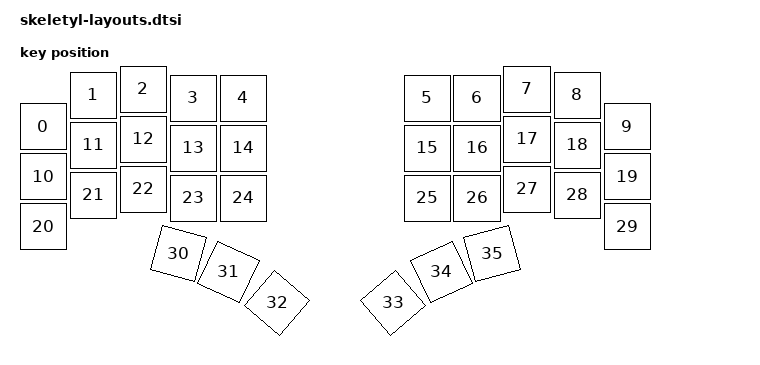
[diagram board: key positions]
#include <physical_layouts.dtsi>

/ {
    skeletyl_3x5_layout: skeletyl_3x5_layout {
        compatible = "zmk,physical-layout";
        display-name = "3x5 Layout";
        transform = <&skeletyl_3x5_transform>;
        kscan = <&kscan0>;

        keys  //                     w   h    x    y     rot    rx    ry
            = <&key_physical_attrs 100 100    0   75       0     0     0>
            , <&key_physical_attrs 100 100  100   12       0     0     0>
            , <&key_physical_attrs 100 100  200    0       0     0     0>
            , <&key_physical_attrs 100 100  300   18       0     0     0>
            , <&key_physical_attrs 100 100  400   18       0     0     0>
            , <&key_physical_attrs 100 100  768   18       0     0     0>
            , <&key_physical_attrs 100 100  868   18       0     0     0>
            , <&key_physical_attrs 100 100  968    0       0     0     0>
            , <&key_physical_attrs 100 100 1068   12       0     0     0>
            , <&key_physical_attrs 100 100 1168   75       0     0     0>
            , <&key_physical_attrs 100 100    0  175       0     0     0>
            , <&key_physical_attrs 100 100  100  112       0     0     0>
            , <&key_physical_attrs 100 100  200  100       0     0     0>
            , <&key_physical_attrs 100 100  300  118       0     0     0>
            , <&key_physical_attrs 100 100  400  118       0     0     0>
            , <&key_physical_attrs 100 100  768  118       0     0     0>
            , <&key_physical_attrs 100 100  868  118       0     0     0>
            , <&key_physical_attrs 100 100  968  100       0     0     0>
            , <&key_physical_attrs 100 100 1068  112       0     0     0>
            , <&key_physical_attrs 100 100 1168  175       0     0     0>
            , <&key_physical_attrs 100 100    0  275       0     0     0>
            , <&key_physical_attrs 100 100  100  212       0     0     0>
            , <&key_physical_attrs 100 100  200  200       0     0     0>
            , <&key_physical_attrs 100 100  300  218       0     0     0>
            , <&key_physical_attrs 100 100  400  218       0     0     0>
            , <&key_physical_attrs 100 100  768  218       0     0     0>
            , <&key_physical_attrs 100 100  868  218       0     0     0>
            , <&key_physical_attrs 100 100  968  200       0     0     0>
            , <&key_physical_attrs 100 100 1068  212       0     0     0>
            , <&key_physical_attrs 100 100 1168  275       0     0     0>
            , <&key_physical_attrs 100 100  271  329    1500   321   379>
            , <&key_physical_attrs 100 100  371  366    2500   421   416>
            , <&key_physical_attrs 100 100  468  428    4100   518   478>
            , <&key_physical_attrs 100 100  700  428 (-4100)   750   478>
            , <&key_physical_attrs 100 100  797  366 (-2500)   847   416>
            , <&key_physical_attrs 100 100  898  329 (-1500)   948   379>
            ;
    };
};
